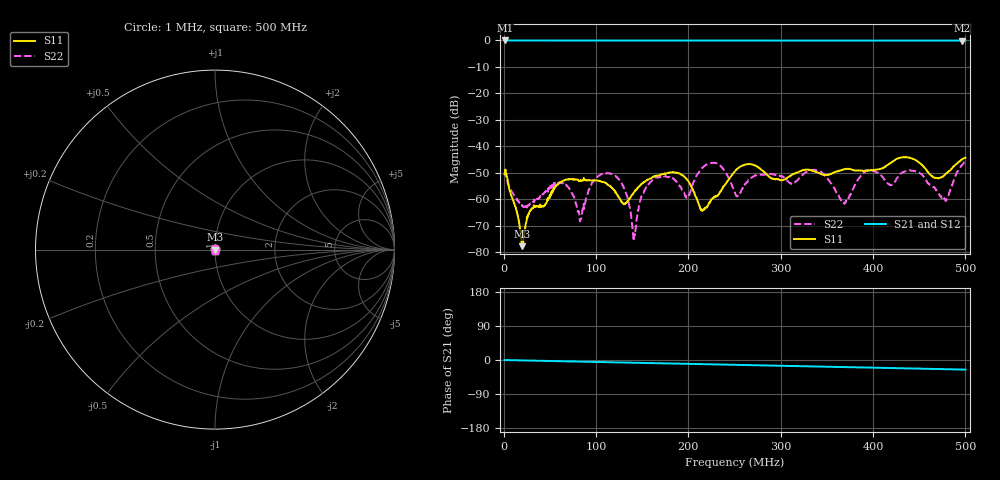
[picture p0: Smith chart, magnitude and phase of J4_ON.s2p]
! MS46122B
! 1746301/73750021
! 8/7/2023 2:48:18 PM
! C:\USERS\SPEGWAL\DOWNLOADS\SAURABH\REACH\NODES\FRONT END\MEASUREMENTS\MEASURED S-PARAMETER_07-08-2023\MS-3\P2_J4\J4_ON.S2P
! CHANNEL.1
! TR.MEASUREMENT
! CORRECTED.DATA
# GHZ S RI R 50.0
! FREQ.GHZ  S11RE  S11IM  S21RE  S21IM  S12RE  S12IM  S22RE  S22IM
!; PortSelection: Port_12
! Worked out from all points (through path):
!   2001 points, 1 MHz to 500 MHz, reference 50 ohm
!   highest |S21| = 0.00 dB at 1.25 MHz (marker M1); lowest = 0.0 dB at 496 MHz (marker M2)
!   group delay of S21, straight-line fit = 140 ps
!   lowest |S11| = -77.7 dB at 19.96 MHz (marker M3), VSWR 1.00, Z = 50 + j0.0118 ohm
!   |S11| at or under -10 dB: start of sweep to end of sweep
!   |S22| runs from -75.7 to -45.7 dB; largest |S21 - S12| = 0.0063
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0.001  -0.00185 0.00234  0.9996 -0.00318  0.9998 -0.00512  -0.000422 0.00289
0.0012495  -0.00183 0.00256  0.9999 -0.00309  0.9994 -0.00444  -0.000842 0.00284
0.019962  5.58e-05 0.000118  0.9982 -0.0192  0.9969 -0.0214  0.000777 -7.53e-05
0.0626265  0.00211 -0.000504  0.9958 -0.0569  0.9948 -0.0588  0.00109 0.00175
0.084333  0.00226 0.00026  0.9943 -0.0761  0.9932 -0.0777  0.000445 -9.68e-05
0.0975565  0.0019 0.00127  0.9932 -0.0873  0.9921 -0.0895  0.002 -0.00105
0.1165185  0.00112 0.0013  0.9913 -0.1038  0.9902 -0.106  0.00297 0.000642
0.1314885  0.000816 -3.56e-05  0.9898 -0.1171  0.9888 -0.1188  0.000976 0.00113
0.141219  0.00109 -0.000829  0.9887 -0.1253  0.9876 -0.1276  0.000169 -0.000105
0.1504505  0.00156 -0.00129  0.9874 -0.1336  0.9866 -0.1354  0.00048 -0.00117
0.1674165  0.00271 -0.000757  0.9854 -0.1482  0.9844 -0.1502  0.00254 -0.000614
0.1988535  0.00231 0.000299  0.9808 -0.1751  0.9797 -0.1771  0.00107 -0.000146
0.2158195  0.000232 -0.000583  0.978 -0.1897  0.9769 -0.1911  0.0029 -0.00282
0.2505  0.0025 -0.00231  0.9715 -0.2194  0.9704 -0.221  0.000919 -0.000925
0.333833  0.0022 -0.00272  0.9524 -0.2895  0.9514 -0.2915  0.00193 -0.00302
0.367765  0.00352 -0.000999  0.9433 -0.3177  0.9413 -0.3215  0.000753 -0.000436
0.3934635  0.00153 -0.00313  0.9358 -0.3388  0.935 -0.3394  0.0023 -0.00263
0.4169165  0.00307 -0.00341  0.9285 -0.3581  0.9277 -0.3589  0.000691 -0.00182
0.44511  0.00431 -0.00364  0.9191 -0.381  0.9171 -0.3846  -0.000626 -0.00337
0.4782935  0.0025 -0.00162  0.9078 -0.4072  0.9071 -0.4076  0.000644 -0.000716
0.496008  0.00259 -0.005  0.9008 -0.4219  0.8991 -0.4248  -0.00022 -0.00433
0.5  0.0023 -0.00569  0.8996 -0.4251  0.8967 -0.4295  0.000171 -0.00515
